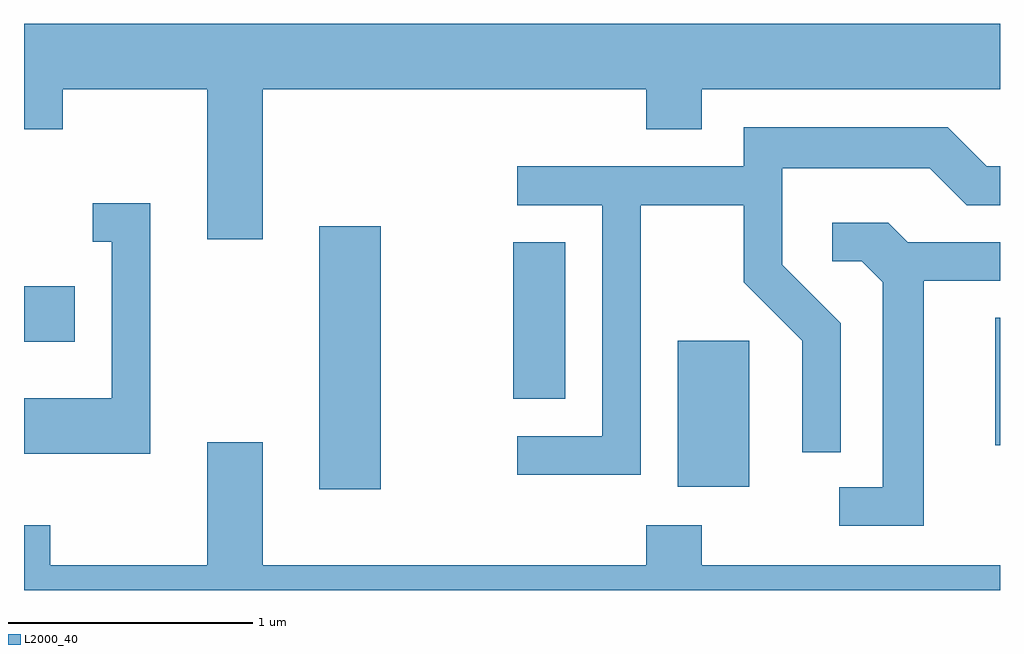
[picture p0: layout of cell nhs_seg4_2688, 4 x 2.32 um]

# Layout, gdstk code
import gdstk
lib = gdstk.Library(unit=1e-6, precision=1e-09)
def R(c, l, rs):  # rectangles x0, y0, x1, y1
    for r in rs: c.add(gdstk.rectangle(r[:2], r[2:], *l))
def P(c, l, *ps):  # polygons
    for p in ps: c.add(gdstk.Polygon(p, *l))
L2000_40 = (2000, 40)

nhs_seg4_2688 = lib.new_cell('nhs_seg4_2688')
R(nhs_seg4_2688, L2000_40, [(264.821,1326.396,265.074,1327.474), (266.291,1326.406,266.584,1327.004), (267.591,1326.576,267.611,1327.099), (265.616,1326.766,265.829,1327.409), (263.611,1327.001,263.819,1327.229)])
P(nhs_seg4_2688, L2000_40, [(264.589,1328.036),(266.161,1328.036),(266.161,1327.871),(266.389,1327.871),(266.389,1328.036),(267.611,1328.036),(267.611,1328.304),(263.611,1328.304),(263.611,1327.871),(263.769,1327.871),(263.769,1328.036),(264.361,1328.036),(264.361,1327.421),(264.589,1327.421)],
  [(266.139,1327.561),(266.561,1327.561),(266.561,1327.244),(266.801,1327.004),(266.801,1326.548),(266.959,1326.548),(266.959,1327.077),(266.719,1327.317),(266.719,1327.711),(267.324,1327.711),(267.474,1327.561),(267.611,1327.561),(267.611,1327.719),(267.557,1327.719),(267.397,1327.879),(266.561,1327.879),(266.561,1327.719),(265.633,1327.719),(265.633,1327.561),(265.981,1327.561),(265.981,1326.614),(265.633,1326.614),(265.633,1326.456),(266.139,1326.456)],
  [(264.129,1327.569),(263.893,1327.569),(263.893,1327.411),(263.971,1327.411),(263.971,1326.769),(263.611,1326.769),(263.611,1326.541),(264.129,1326.541)],
  [(267.299,1327.251),(267.611,1327.251),(267.611,1327.409),(267.232,1327.409),(267.152,1327.489),(266.923,1327.489),(266.923,1327.331),(267.044,1327.331),(267.131,1327.244),(267.131,1326.404),(266.953,1326.404),(266.953,1326.246),(267.299,1326.246)],
  [(267.611,1326.084),(266.389,1326.084),(266.389,1326.249),(266.161,1326.249),(266.161,1326.084),(264.589,1326.084),(264.589,1326.589),(264.361,1326.589),(264.361,1326.084),(263.719,1326.084),(263.719,1326.249),(263.611,1326.249),(263.611,1325.982),(267.611,1325.982)])

lib.write_gds('nhs_seg4_2688.gds')
